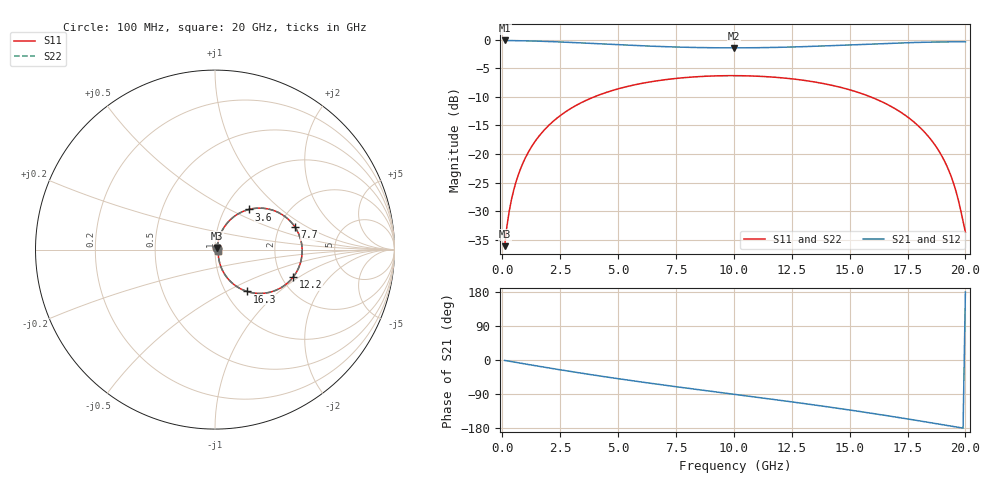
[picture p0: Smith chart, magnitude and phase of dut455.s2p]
! Touchstone file exported from HFSS 2026.1.0
!  File:  C:/ffzhzh/LocalFiles/Ansys_Project_Files/temp_train_TSV_RDL_455_1783100681_53076.aedt
!  Generated:  01:55:47 AM Jul  4, 2026
!  Design:  TSV_RDL
!  Project:  temp_train_TSV_RDL_455_1783100681_53076
! Variables:
!  h_bsmrdl = 3.01um
!  h_ox = 20um
!  h_rdl = 5um
!  h_sub = 71.3um
!  h_tmrdl = 5.41um
!  h_tsv = 71.3um
!  h_via = 3um
!  l_bsmrdl = 218.88um
!  l_sub = 3091.99um
!  l_tmrdl = 467.88um
!  m_sub = 200um
!  pitch = 51.88um
!  r_tsv = 4um
!  s_tmrdl = 10um
!  w_bsmrdl = 25.36um
!  w_sub = 500um
!  w_tmrdl = 29.25um
!  x_tsv_center1 = 482.505um
!  x_tsv_center2 = 726.745um
!  x_tsv_center3 = 1223.875um
!  x_tsv_center4 = 1468.115um
!  x_tsv_center5 = 1965.245um
!  x_tsv_center6 = 2209.485um
# GHz S MA R 50.000000
! Terminal data exported
! Port[1] = TM_RDL1_1_T1
! Port[2] = TM_RDL5_1_T1
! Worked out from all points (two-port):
!   200 points, 100 MHz to 20 GHz, reference 50 ohm
!   highest |S21| = -0.10 dB at 100 MHz (marker M1); lowest = -1.4 dB at 10 GHz (marker M2)
!   |S21| within 3 dB of the highest: start of sweep to end of sweep
!   lowest |S11| = -36.2 dB at 100 MHz (marker M3), VSWR 1.03, Z = 51.2 + j1.01 ohm
!   |S11| at or under -10 dB: start of sweep to 3.963 GHz; 15.91 GHz to end of sweep
!   |S22| runs from -36.2 to -6.3 dB; largest |S21 - S12| = 7.2e-14
!   S11 on the Smith chart (normalised r, x): 100 MHz: 1.02, +0.02; 3.6 GHz: 1.29, +0.63; 7.7 GHz: 2.44, +0.77; 12.2 GHz: 2.31, -0.89; 16.3 GHz: 1.25, -0.64; 20 GHz: 1.04, -0.02
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0.1  0.01557 39.2  0.9881 -1.1  0.9881 -1.1  0.01557 39.2
! Gamma 0 0 0 0
! Port Impedance 50 0 50 0
0.3  0.03163 62.4  0.9865 -3.2  0.9865 -3.2  0.03163 62.4
0.5  0.04886 68.4  0.9851 -5.3  0.9851 -5.3  0.04886 68.4
0.8  0.07521 70.6  0.9829 -8.5  0.9829 -8.5  0.07521 70.6
1.1  0.1016 70.0  0.98 -11.6  0.98 -11.6  0.1016 70.0
2.1  0.1856 63.0  0.9659 -21.9  0.9659 -21.9  0.1856 63.0
3.5  0.2874 50.6  0.9382 -35.6  0.9382 -35.6  0.2874 50.6
3.6  0.2938 49.7  0.9361 -36.5  0.9361 -36.5  0.2938 49.7
5.1  0.3769 36.6  0.9045 -50.2  0.9045 -50.2  0.3769 36.6
6.8  0.4412 22.7  0.8747 -64.7  0.8747 -64.7  0.4412 22.7
7.7  0.4634 15.5  0.8633 -72.1  0.8633 -72.1  0.4634 15.5
10  0.4857 -2.2  0.851 -90.4  0.851 -90.4  0.4857 -2.1
10.1  0.4856 -2.9  0.851 -91.2  0.851 -91.2  0.4856 -2.9
12.2  0.4624 -19.1  0.8625 -108.0  0.8625 -108.0  0.4624 -19.1
13.4  0.4305 -28.6  0.8772 -118.0  0.8772 -118.0  0.4305 -28.6
16.3  0.2928 -52.7  0.9259 -143.9  0.9259 -143.9  0.2928 -52.7
16.7  0.267 -56.1  0.9325 -147.7  0.9325 -147.7  0.2671 -56.1
18  0.1738 -66.4  0.9506 -160.4  0.9506 -160.4  0.1738 -66.4
18.9  0.1027 -71.0  0.9585 -169.5  0.9585 -169.5  0.1027 -71.0
19.5  0.05446 -67.5  0.9611 -175.6  0.9611 -175.6  0.05451 -67.4
19.7  0.0391 -61.1  0.9614 -177.7  0.9614 -177.7  0.03915 -61.1
20  0.02066 -28.9  0.9613 179.3  0.9613 179.3  0.02073 -28.8
